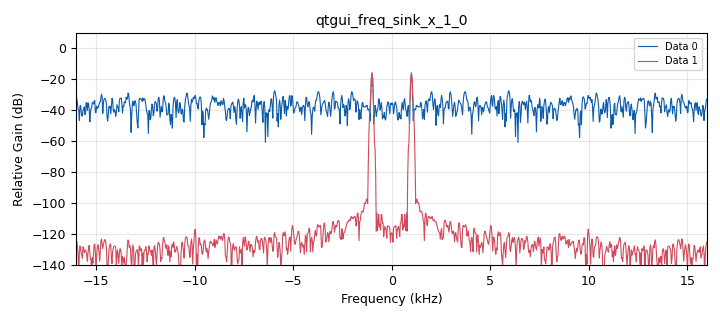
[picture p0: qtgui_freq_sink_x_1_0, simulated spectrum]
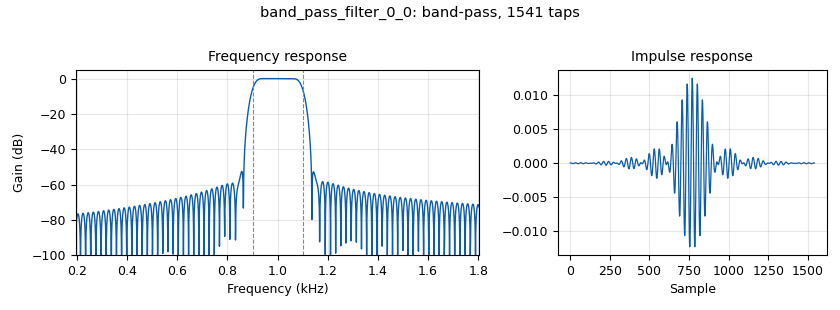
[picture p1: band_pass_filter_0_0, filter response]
<?xml version='1.0' encoding='utf-8'?>
<?grc format='1' created='3.7.13'?>
<flow_graph>
<block>
<key>options</key>
<param><key>id</key><value>self_interference_cancellation</value></param>
<param><key>author</key><value>karel</value></param>
<param><key>description</key><value>This example demonstrates how to adaptively cancel self-interference.</value></param>
<param><key>generate_options</key><value>qt_gui</value></param>
<param><key>title</key><value>Self-Interference Cancellation with Adaptive Filters</value></param>
</block>
<block>
<key>variable</key>
<param><key>id</key><value>eb</value></param>
<param><key>value</key><value>0.22</value></param>
</block>
<block>
<key>variable</key>
<param><key>id</key><value>filt_delay</value></param>
<param><key>value</key><value>1+(taps_per_filt-1)/2</value></param>
</block>
<block>
<key>variable_qtgui_range</key>
<param><key>id</key><value>frequency</value></param>
<param><key>value</key><value>2e3</value></param>
<param><key>gui_hint</key><value>2,0,1,1</value></param>
<param><key>label</key><value>Frequency</value></param>
<param><key>min_len</key><value>10</value></param>
<param><key>orient</key><value>Qt.Horizontal</value></param>
<param><key>start</key><value>1e3</value></param>
<param><key>step</key><value>1e3</value></param>
<param><key>stop</key><value>1e4</value></param>
</block>
<block>
<key>variable_qtgui_check_box</key>
<param><key>id</key><value>gui_adapt</value></param>
<param><key>value</key><value>True</value></param>
<param><key>false</key><value>False</value></param>
<param><key>gui_hint</key><value>2,1,1,1</value></param>
<param><key>label</key><value>Adapt</value></param>
<param><key>true</key><value>True</value></param>
<param><key>type</key><value>bool</value></param>
</block>
<block>
<key>variable_qtgui_range</key>
<param><key>id</key><value>gui_delta</value></param>
<param><key>value</key><value>1</value></param>
<param><key>gui_hint</key><value>0,1,1,2</value></param>
<param><key>label</key><value>Delta</value></param>
<param><key>min_len</key><value>300</value></param>
<param><key>orient</key><value>Qt.Horizontal</value></param>
<param><key>start</key><value>0</value></param>
<param><key>step</key><value>1</value></param>
<param><key>stop</key><value>300</value></param>
</block>
<block>
<key>variable_qtgui_range</key>
<param><key>id</key><value>gui_lambda</value></param>
<param><key>value</key><value>1</value></param>
<param><key>gui_hint</key><value>1,1,1,2</value></param>
<param><key>label</key><value>Lambda</value></param>
<param><key>min_len</key><value>100</value></param>
<param><key>orient</key><value>Qt.Horizontal</value></param>
<param><key>start</key><value>0.01</value></param>
<param><key>step</key><value>0.01</value></param>
<param><key>stop</key><value>1</value></param>
</block>
<block>
<key>variable_qtgui_range</key>
<param><key>id</key><value>gui_lms_mu</value></param>
<param><key>value</key><value>0.001</value></param>
<param><key>gui_hint</key><value>0,0,1,1</value></param>
<param><key>label</key><value>LMS Mu</value></param>
<param><key>min_len</key><value>100</value></param>
<param><key>orient</key><value>Qt.Horizontal</value></param>
<param><key>start</key><value>0.001</value></param>
<param><key>step</key><value>0.01</value></param>
<param><key>stop</key><value>1</value></param>
</block>
<block>
<key>variable_qtgui_range</key>
<param><key>id</key><value>gui_nlms_mu</value></param>
<param><key>value</key><value>1</value></param>
<param><key>gui_hint</key><value>1,0,1,1</value></param>
<param><key>label</key><value>NLMS Mu</value></param>
<param><key>min_len</key><value>100</value></param>
<param><key>orient</key><value>Qt.Horizontal</value></param>
<param><key>start</key><value>0.001</value></param>
<param><key>step</key><value>0.01</value></param>
<param><key>stop</key><value>2</value></param>
</block>
<block>
<key>variable_qtgui_check_box</key>
<param><key>id</key><value>gui_reset</value></param>
<param><key>value</key><value>False</value></param>
<param><key>false</key><value>False</value></param>
<param><key>gui_hint</key><value>2,2,1,1</value></param>
<param><key>label</key><value>Reset</value></param>
<param><key>true</key><value>True</value></param>
<param><key>type</key><value>bool</value></param>
</block>
<block>
<key>variable</key>
<param><key>id</key><value>n_taps</value></param>
<param><key>value</key><value>16</value></param>
</block>
<block>
<key>variable</key>
<param><key>id</key><value>nfilts</value></param>
<param><key>value</key><value>32</value></param>
</block>
<block>
<key>variable_rrc_filter_taps</key>
<param><key>id</key><value>rx_rrc_taps</value></param>
<param><key>alpha</key><value>eb</value></param>
<param><key>gain</key><value>nfilts</value></param>
<param><key>ntaps</key><value>11*sps*nfilts</value></param>
<param><key>samp_rate</key><value>nfilts*sps</value></param>
<param><key>sym_rate</key><value>1.0</value></param>
</block>
<block>
<key>variable</key>
<param><key>id</key><value>samp_rate</value></param>
<param><key>value</key><value>32000</value></param>
</block>
<block>
<key>variable</key>
<param><key>id</key><value>sps</value></param>
<param><key>value</key><value>4</value></param>
</block>
<block>
<key>variable</key>
<param><key>id</key><value>taps_per_filt</value></param>
<param><key>value</key><value>len(tx_rrc_taps)/nfilts</value></param>
</block>
<block>
<key>variable_rrc_filter_taps</key>
<param><key>id</key><value>tx_rrc_taps</value></param>
<param><key>alpha</key><value>eb</value></param>
<param><key>gain</key><value>nfilts</value></param>
<param><key>ntaps</key><value>5*sps*nfilts</value></param>
<param><key>samp_rate</key><value>nfilts</value></param>
<param><key>sym_rate</key><value>1.0</value></param>
</block>
<block>
<key>adapt_lms_filter_xx</key>
<param><key>id</key><value>adapt_lms_filter_xx_0</value></param>
<param><key>adapt</key><value>gui_adapt</value></param>
<param><key>bypass</key><value>False</value></param>
<param><key>decimation</key><value>1</value></param>
<param><key>_enabled</key><value>0</value></param>
<param><key>filtered_input</key><value>True</value></param>
<param><key>first_input</key><value>True</value></param>
<param><key>num_taps</key><value>n_taps*2</value></param>
<param><key>reset</key><value>gui_reset</value></param>
<param><key>skip</key><value>0</value></param>
<param><key>type</key><value>ff</value></param>
<param><key>mu</key><value>gui_lms_mu</value></param>
</block>
<block>
<key>adapt_lms_filter_xx</key>
<param><key>id</key><value>adapt_lms_filter_xx_0_0</value></param>
<param><key>adapt</key><value>gui_adapt</value></param>
<param><key>bypass</key><value>False</value></param>
<param><key>decimation</key><value>1</value></param>
<param><key>filtered_input</key><value>True</value></param>
<param><key>first_input</key><value>False</value></param>
<param><key>num_taps</key><value>n_taps*2</value></param>
<param><key>reset</key><value>gui_reset</value></param>
<param><key>skip</key><value>0</value></param>
<param><key>type</key><value>ff</value></param>
<param><key>mu</key><value>gui_lms_mu</value></param>
</block>
<block>
<key>analog_noise_source_x</key>
<param><key>id</key><value>analog_noise_source_x_0</value></param>
<param><key>amp</key><value>1</value></param>
<param><key>_enabled</key><value>0</value></param>
<param><key>noise_type</key><value>analog.GR_GAUSSIAN</value></param>
<param><key>type</key><value>float</value></param>
<param><key>seed</key><value>0</value></param>
</block>
<block>
<key>analog_noise_source_x</key>
<param><key>id</key><value>analog_noise_source_x_0_0</value></param>
<param><key>amp</key><value>1</value></param>
<param><key>noise_type</key><value>analog.GR_GAUSSIAN</value></param>
<param><key>type</key><value>float</value></param>
<param><key>seed</key><value>0</value></param>
</block>
<block>
<key>analog_sig_source_x</key>
<param><key>id</key><value>analog_sig_source_x_0</value></param>
<param><key>amp</key><value>1</value></param>
<param><key>_enabled</key><value>0</value></param>
<param><key>freq</key><value>samp_rate/32</value></param>
<param><key>offset</key><value>0</value></param>
<param><key>type</key><value>float</value></param>
<param><key>samp_rate</key><value>samp_rate</value></param>
<param><key>waveform</key><value>analog.GR_SIN_WAVE</value></param>
</block>
<block>
<key>analog_sig_source_x</key>
<param><key>id</key><value>analog_sig_source_x_0_0</value></param>
<param><key>amp</key><value>1</value></param>
<param><key>freq</key><value>samp_rate/32</value></param>
<param><key>offset</key><value>0</value></param>
<param><key>type</key><value>float</value></param>
<param><key>samp_rate</key><value>samp_rate</value></param>
<param><key>waveform</key><value>analog.GR_SIN_WAVE</value></param>
</block>
<block>
<key>analog_sig_source_x</key>
<param><key>id</key><value>analog_sig_source_x_0_0_0</value></param>
<param><key>amp</key><value>1</value></param>
<param><key>_enabled</key><value>0</value></param>
<param><key>freq</key><value>2000</value></param>
<param><key>offset</key><value>0</value></param>
<param><key>type</key><value>float</value></param>
<param><key>samp_rate</key><value>samp_rate</value></param>
<param><key>waveform</key><value>analog.GR_SIN_WAVE</value></param>
</block>
<block>
<key>analog_sig_source_x</key>
<param><key>id</key><value>analog_sig_source_x_0_0_0_0</value></param>
<param><key>amp</key><value>1</value></param>
<param><key>_enabled</key><value>0</value></param>
<param><key>freq</key><value>2000</value></param>
<param><key>offset</key><value>0</value></param>
<param><key>type</key><value>float</value></param>
<param><key>samp_rate</key><value>samp_rate</value></param>
<param><key>waveform</key><value>analog.GR_SIN_WAVE</value></param>
</block>
<block>
<key>band_pass_filter</key>
<param><key>id</key><value>band_pass_filter_0</value></param>
<param><key>decim</key><value>1</value></param>
<param><key>_enabled</key><value>0</value></param>
<param><key>type</key><value>fir_filter_fff</value></param>
<param><key>gain</key><value>1</value></param>
<param><key>high_cutoff_freq</key><value>1100</value></param>
<param><key>low_cutoff_freq</key><value>900</value></param>
<param><key>samp_rate</key><value>samp_rate</value></param>
<param><key>width</key><value>50</value></param>
<param><key>win</key><value>firdes.WIN_HAMMING</value></param>
</block>
<block>
<key>band_pass_filter</key>
<param><key>id</key><value>band_pass_filter_0_0</value></param>
<param><key>decim</key><value>1</value></param>
<param><key>type</key><value>fir_filter_fff</value></param>
<param><key>gain</key><value>1</value></param>
<param><key>high_cutoff_freq</key><value>1100</value></param>
<param><key>low_cutoff_freq</key><value>900</value></param>
<param><key>samp_rate</key><value>samp_rate</value></param>
<param><key>width</key><value>50</value></param>
<param><key>win</key><value>firdes.WIN_HAMMING</value></param>
</block>
<block>
<key>blocks_add_xx</key>
<param><key>id</key><value>blocks_add_xx_0</value></param>
<param><key>_enabled</key><value>0</value></param>
<param><key>type</key><value>float</value></param>
</block>
<block>
<key>blocks_add_xx</key>
<param><key>id</key><value>blocks_add_xx_0_0</value></param>
<param><key>type</key><value>float</value></param>
</block>
<block>
<key>blocks_multiply_const_vxx</key>
<param><key>id</key><value>blocks_multiply_const_vxx_0_0</value></param>
<param><key>const</key><value>0.00001</value></param>
<param><key>_enabled</key><value>2</value></param>
<param><key>type</key><value>float</value></param>
</block>
<block>
<key>blocks_throttle</key>
<param><key>id</key><value>blocks_throttle_0</value></param>
<param><key>_enabled</key><value>0</value></param>
<param><key>samples_per_second</key><value>samp_rate</value></param>
<param><key>type</key><value>float</value></param>
</block>
<block>
<key>blocks_throttle</key>
<param><key>id</key><value>blocks_throttle_0_0</value></param>
<param><key>samples_per_second</key><value>samp_rate</value></param>
<param><key>type</key><value>float</value></param>
</block>
<block>
<key>qtgui_freq_sink_x</key>
<param><key>id</key><value>qtgui_freq_sink_x_0</value></param>
<param><key>bw</key><value>samp_rate</value></param>
<param><key>fc</key><value>0</value></param>
<param><key>comment</key><value>Error signal is the output without self-interference.</value></param>
<param><key>_enabled</key><value>0</value></param>
<param><key>fftsize</key><value>1024</value></param>
<param><key>gui_hint</key><value>6,0,3,3</value></param>
<param><key>label1</key><value>Input</value></param>
<param><key>label2</key><value>Reference</value></param>
<param><key>label3</key><value>Out</value></param>
<param><key>label4</key><value>Error</value></param>
<param><key>nconnections</key><value>4</value></param>
<param><key>showports</key><value>True</value></param>
<param><key>type</key><value>float</value></param>
<param><key>wintype</key><value>firdes.WIN_BLACKMAN_hARRIS</value></param>
</block>
<block>
<key>qtgui_freq_sink_x</key>
<param><key>id</key><value>qtgui_freq_sink_x_0_0</value></param>
<param><key>bw</key><value>samp_rate</value></param>
<param><key>fc</key><value>0</value></param>
<param><key>comment</key><value>Error signal is the output without self-interference.</value></param>
<param><key>fftsize</key><value>1024</value></param>
<param><key>gui_hint</key><value>6,0,3,3</value></param>
<param><key>label1</key><value>Input</value></param>
<param><key>label2</key><value>Reference</value></param>
<param><key>label3</key><value>Out</value></param>
<param><key>label4</key><value>Error</value></param>
<param><key>label5</key><value>MIX</value></param>
<param><key>label6</key><value>Original</value></param>
<param><key>nconnections</key><value>6</value></param>
<param><key>showports</key><value>True</value></param>
<param><key>type</key><value>float</value></param>
<param><key>wintype</key><value>firdes.WIN_BLACKMAN_hARRIS</value></param>
</block>
<block>
<key>qtgui_freq_sink_x</key>
<param><key>id</key><value>qtgui_freq_sink_x_1</value></param>
<param><key>bw</key><value>samp_rate</value></param>
<param><key>fc</key><value>0</value></param>
<param><key>_enabled</key><value>0</value></param>
<param><key>fftsize</key><value>1024</value></param>
<param><key>gui_hint</key><value>15,1</value></param>
<param><key>label2</key><value></value></param>
<param><key>nconnections</key><value>2</value></param>
<param><key>showports</key><value>True</value></param>
<param><key>type</key><value>float</value></param>
<param><key>wintype</key><value>firdes.WIN_BLACKMAN_hARRIS</value></param>
</block>
<block>
<key>qtgui_freq_sink_x</key>
<param><key>id</key><value>qtgui_freq_sink_x_1_0</value></param>
<param><key>bw</key><value>samp_rate</value></param>
<param><key>fc</key><value>0</value></param>
<param><key>fftsize</key><value>1024</value></param>
<param><key>gui_hint</key><value>15,1</value></param>
<param><key>label2</key><value></value></param>
<param><key>nconnections</key><value>2</value></param>
<param><key>showports</key><value>True</value></param>
<param><key>type</key><value>float</value></param>
<param><key>wintype</key><value>firdes.WIN_BLACKMAN_hARRIS</value></param>
</block>
<block>
<key>qtgui_vector_sink_f</key>
<param><key>id</key><value>qtgui_vector_sink_f_0</value></param>
<param><key>_enabled</key><value>0</value></param>
<param><key>gui_hint</key><value>3,0,3,3</value></param>
<param><key>grid</key><value>True</value></param>
<param><key>showports</key><value>True</value></param>
<param><key>vlen</key><value>n_taps*2</value></param>
<param><key>x_start</key><value>0</value></param>
<param><key>x_step</key><value>1.0</value></param>
<param><key>ymax</key><value>1</value></param>
<param><key>ymin</key><value>-1</value></param>
</block>
<block>
<key>qtgui_vector_sink_f</key>
<param><key>id</key><value>qtgui_vector_sink_f_0_0</value></param>
<param><key>gui_hint</key><value>3,0,3,3</value></param>
<param><key>grid</key><value>True</value></param>
<param><key>showports</key><value>True</value></param>
<param><key>vlen</key><value>n_taps*2</value></param>
<param><key>x_start</key><value>0</value></param>
<param><key>x_step</key><value>1.0</value></param>
<param><key>ymax</key><value>1</value></param>
<param><key>ymin</key><value>-1</value></param>
</block>
<connection><source_block_id>adapt_lms_filter_xx_0</source_block_id><sink_block_id>qtgui_freq_sink_x_0</sink_block_id><source_key>1</source_key><sink_key>2</sink_key></connection>
<connection><source_block_id>adapt_lms_filter_xx_0</source_block_id><sink_block_id>qtgui_freq_sink_x_0</sink_block_id><source_key>0</source_key><sink_key>3</sink_key></connection>
<connection><source_block_id>adapt_lms_filter_xx_0</source_block_id><sink_block_id>qtgui_vector_sink_f_0</sink_block_id><source_key>2</source_key><sink_key>0</sink_key></connection>
<connection><source_block_id>adapt_lms_filter_xx_0_0</source_block_id><sink_block_id>qtgui_freq_sink_x_0_0</sink_block_id><source_key>1</source_key><sink_key>2</sink_key></connection>
<connection><source_block_id>adapt_lms_filter_xx_0_0</source_block_id><sink_block_id>qtgui_freq_sink_x_0_0</sink_block_id><source_key>0</source_key><sink_key>3</sink_key></connection>
<connection><source_block_id>adapt_lms_filter_xx_0_0</source_block_id><sink_block_id>qtgui_vector_sink_f_0_0</sink_block_id><source_key>2</source_key><sink_key>0</sink_key></connection>
<connection><source_block_id>analog_noise_source_x_0</source_block_id><sink_block_id>blocks_throttle_0</sink_block_id><source_key>0</source_key><sink_key>0</sink_key></connection>
<connection><source_block_id>analog_noise_source_x_0_0</source_block_id><sink_block_id>blocks_multiply_const_vxx_0_0</sink_block_id><source_key>0</source_key><sink_key>0</sink_key></connection>
<connection><source_block_id>analog_sig_source_x_0</source_block_id><sink_block_id>adapt_lms_filter_xx_0</sink_block_id><source_key>0</source_key><sink_key>0</sink_key></connection>
<connection><source_block_id>analog_sig_source_x_0</source_block_id><sink_block_id>blocks_add_xx_0</sink_block_id><source_key>0</source_key><sink_key>1</sink_key></connection>
<connection><source_block_id>analog_sig_source_x_0</source_block_id><sink_block_id>qtgui_freq_sink_x_0</sink_block_id><source_key>0</source_key><sink_key>0</sink_key></connection>
<connection><source_block_id>analog_sig_source_x_0_0</source_block_id><sink_block_id>blocks_add_xx_0_0</sink_block_id><source_key>0</source_key><sink_key>1</sink_key></connection>
<connection><source_block_id>analog_sig_source_x_0_0</source_block_id><sink_block_id>qtgui_freq_sink_x_0_0</sink_block_id><source_key>0</source_key><sink_key>5</sink_key></connection>
<connection><source_block_id>analog_sig_source_x_0_0_0</source_block_id><sink_block_id>blocks_throttle_0</sink_block_id><source_key>0</source_key><sink_key>0</sink_key></connection>
<connection><source_block_id>analog_sig_source_x_0_0_0_0</source_block_id><sink_block_id>blocks_multiply_const_vxx_0_0</sink_block_id><source_key>0</source_key><sink_key>0</sink_key></connection>
<connection><source_block_id>band_pass_filter_0</source_block_id><sink_block_id>adapt_lms_filter_xx_0</sink_block_id><source_key>0</source_key><sink_key>1</sink_key></connection>
<connection><source_block_id>band_pass_filter_0</source_block_id><sink_block_id>qtgui_freq_sink_x_1</sink_block_id><source_key>0</source_key><sink_key>1</sink_key></connection>
<connection><source_block_id>band_pass_filter_0_0</source_block_id><sink_block_id>adapt_lms_filter_xx_0_0</sink_block_id><source_key>0</source_key><sink_key>1</sink_key></connection>
<connection><source_block_id>band_pass_filter_0_0</source_block_id><sink_block_id>qtgui_freq_sink_x_1_0</sink_block_id><source_key>0</source_key><sink_key>1</sink_key></connection>
<connection><source_block_id>blocks_add_xx_0</source_block_id><sink_block_id>band_pass_filter_0</sink_block_id><source_key>0</source_key><sink_key>0</sink_key></connection>
<connection><source_block_id>blocks_add_xx_0</source_block_id><sink_block_id>qtgui_freq_sink_x_0</sink_block_id><source_key>0</source_key><sink_key>1</sink_key></connection>
<connection><source_block_id>blocks_add_xx_0</source_block_id><sink_block_id>qtgui_freq_sink_x_1</sink_block_id><source_key>0</source_key><sink_key>0</sink_key></connection>
<connection><source_block_id>blocks_add_xx_0_0</source_block_id><sink_block_id>band_pass_filter_0_0</sink_block_id><source_key>0</source_key><sink_key>0</sink_key></connection>
<connection><source_block_id>blocks_add_xx_0_0</source_block_id><sink_block_id>qtgui_freq_sink_x_0_0</sink_block_id><source_key>0</source_key><sink_key>0</sink_key></connection>
<connection><source_block_id>blocks_add_xx_0_0</source_block_id><sink_block_id>qtgui_freq_sink_x_0_0</sink_block_id><source_key>0</source_key><sink_key>4</sink_key></connection>
<connection><source_block_id>blocks_add_xx_0_0</source_block_id><sink_block_id>qtgui_freq_sink_x_1_0</sink_block_id><source_key>0</source_key><sink_key>0</sink_key></connection>
<connection><source_block_id>blocks_multiply_const_vxx_0_0</source_block_id><sink_block_id>blocks_throttle_0_0</sink_block_id><source_key>0</source_key><sink_key>0</sink_key></connection>
<connection><source_block_id>blocks_throttle_0</source_block_id><sink_block_id>blocks_add_xx_0</sink_block_id><source_key>0</source_key><sink_key>0</sink_key></connection>
<connection><source_block_id>blocks_throttle_0_0</source_block_id><sink_block_id>adapt_lms_filter_xx_0_0</sink_block_id><source_key>0</source_key><sink_key>0</sink_key></connection>
<connection><source_block_id>blocks_throttle_0_0</source_block_id><sink_block_id>blocks_add_xx_0_0</sink_block_id><source_key>0</source_key><sink_key>0</sink_key></connection>
<connection><source_block_id>blocks_throttle_0_0</source_block_id><sink_block_id>qtgui_freq_sink_x_0_0</sink_block_id><source_key>0</source_key><sink_key>1</sink_key></connection>
</flow_graph>
